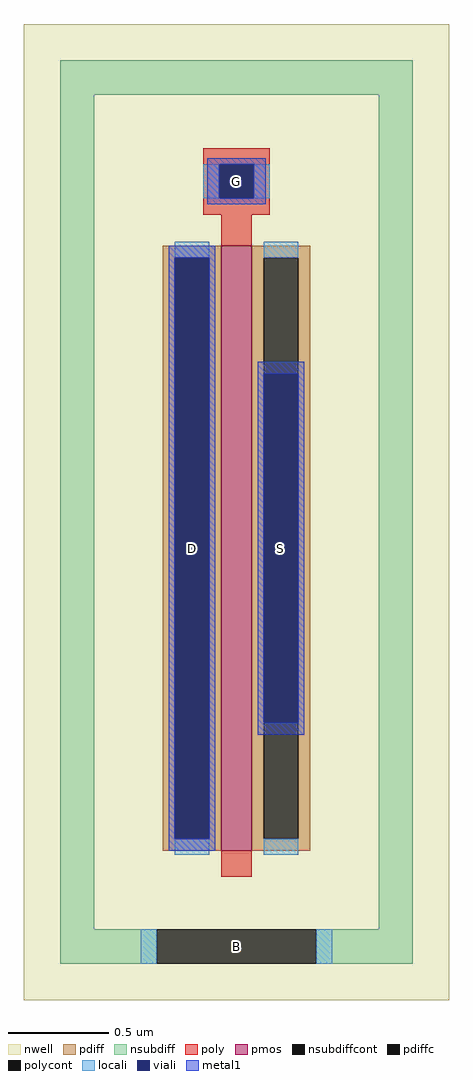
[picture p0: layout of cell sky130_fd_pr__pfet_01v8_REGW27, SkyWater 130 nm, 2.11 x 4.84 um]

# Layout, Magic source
magic
tech sky130A
magscale 1 2
<< nwell >>
rect -211 -484 211 484
<< pmos >>
rect -15 -336 15 264
<< pdiff >>
rect -73 252 -15 264
rect -73 -324 -61 252
rect -27 -324 -15 252
rect -73 -336 -15 -324
rect 15 252 73 264
rect 15 -324 27 252
rect 61 -324 73 252
rect 15 -336 73 -324
<< pdiffc >>
rect -61 -324 -27 252
rect 27 -324 61 252
<< nsubdiff >>
rect -175 414 175 448
rect -175 -414 -141 414
rect 141 -414 175 414
rect -175 -448 -79 -414
rect 79 -448 175 -414
<< nsubdiffcont >>
rect -79 -448 79 -414
<< poly >>
rect -33 345 33 361
rect -33 311 -17 345
rect 17 311 33 345
rect -33 295 33 311
rect -15 264 15 295
rect -15 -362 15 -336
<< polycont >>
rect -17 311 17 345
<< locali >>
rect -33 311 -17 345
rect 17 311 33 345
rect -61 252 -27 268
rect -61 -340 -27 -324
rect 27 252 61 268
rect 27 -340 61 -324
rect -95 -448 -79 -414
rect 79 -448 95 -414
<< viali >>
rect -17 311 17 345
rect -61 -324 -27 252
rect 27 -209 61 137
<< metal1 >>
rect -29 345 29 351
rect -29 311 -17 345
rect 17 311 29 345
rect -29 305 29 311
rect -67 252 -21 264
rect -67 -324 -61 252
rect -27 -324 -21 252
rect 21 137 67 149
rect 21 -209 27 137
rect 61 -209 67 137
rect 21 -221 67 -209
rect -67 -336 -21 -324
<< labels >>
rlabel nsubdiffcont 0 -431 0 -431 0 B
port 1 nsew
rlabel pdiffc -44 -36 -44 -36 0 D
port 2 nsew
rlabel pdiffc 44 -36 44 -36 0 S
port 3 nsew
rlabel polycont 0 328 0 328 0 G
port 4 nsew
<< properties >>
string FIXED_BBOX -158 -431 158 431
string gencell sky130_fd_pr__pfet_01v8
string library sky130
string parameters w 3 l 0.15 m 1 nf 1 diffcov 100 polycov 100 guard 1 glc 0 grc 0 gtc 0 gbc 1 tbcov 100 rlcov 100 topc 1 botc 0 poverlap 0 doverlap 1 lmin 0.15 wmin 0.42 class mosfet compatible {sky130_fd_pr__pfet_01v8  sky130_fd_pr__pfet_01v8_lvt sky130_fd_pr__pfet_01v8_hvt  sky130_fd_pr__pfet_g5v0d10v5} full_metal 0 viasrc 60 viadrn 100 viagate 100 viagb 0 viagr 0 viagl 0 viagt 0 doports 1
<< end >>
